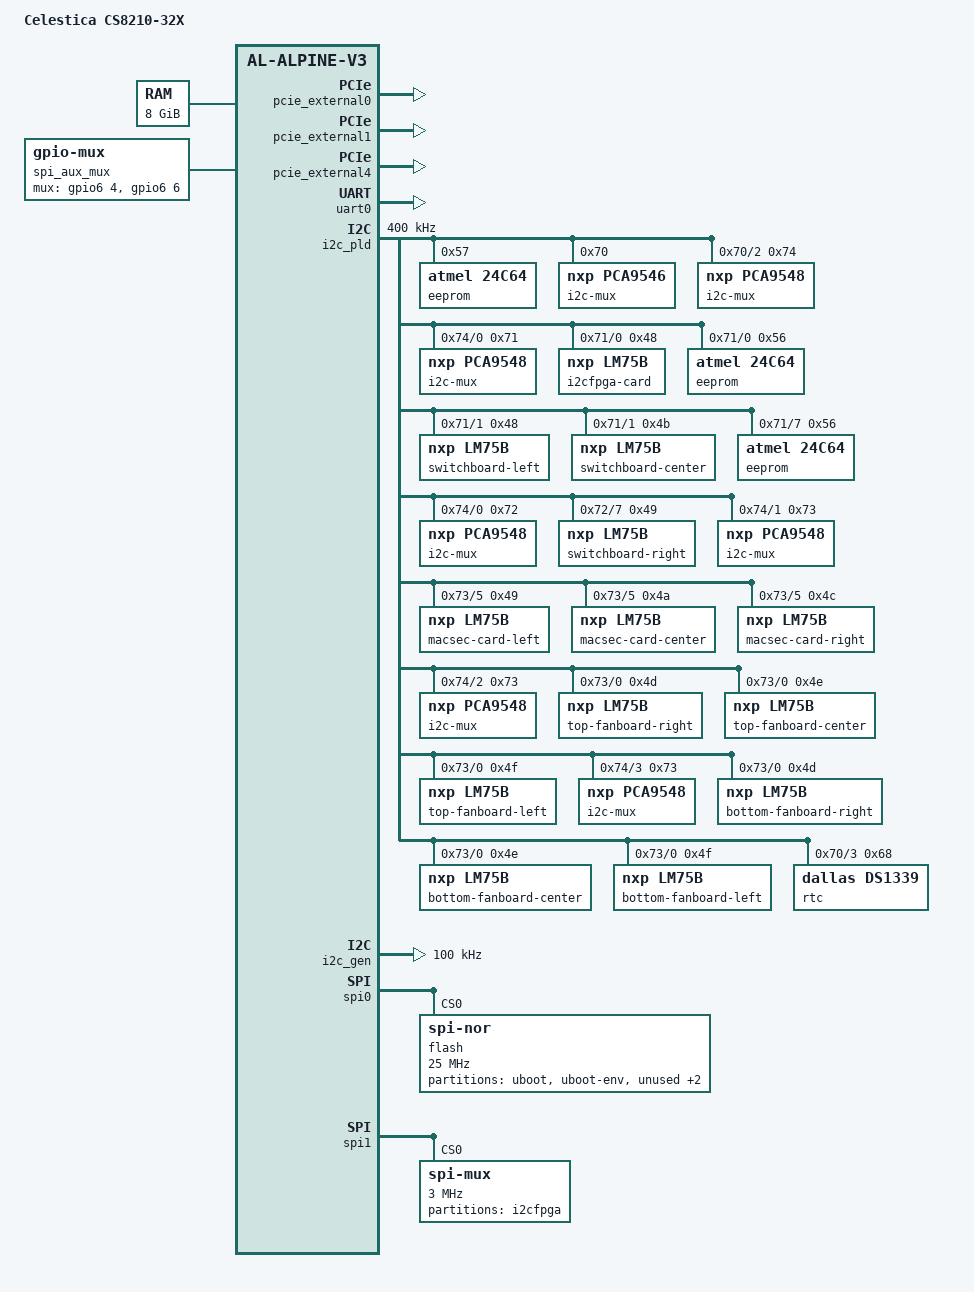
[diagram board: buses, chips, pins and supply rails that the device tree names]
// SPDX-License-Identifier: GPL-2.0
/*
 * Celestica CS8210-32X ("Briggs"), Annapurna Labs Alpine v3 K2X-N CPU card.
 *
 * Mainline alpine-v3.dtsi plus what the board needs, rebuilt from the live
 * device tree U-Boot 2018.05-alpine_db-v3.65.1.015 hands to the stock ONIE
 * kernel (captured 2026-11-09). Vendor-only bindings (al_eth board-cfg,
 * SerDes complexes, IOFIC, CCU, EDAC) are deliberately not carried over.
 */

/dts-v1/;

#include "alpine-v3.dtsi"

/ {
	model = "Celestica CS8210-32X";
	compatible = "celestica,cs8210", "amazon,al-alpine-v3";

	aliases {
		serial0 = &uart0;
		serial1 = &uart1;
	};

	chosen {
		stdout-path = "serial0:115200n8";
	};

	/*
	 * 8 GiB (2 x 4 GiB DIMM). Same four banks stock U-Boot writes into the
	 * vendor tree; it rewrites this node again on boot.
	 */
	memory@0 {
		device_type = "memory";
		reg = <0x0 0x00000000 0x0 0x80000000>,
		      <0x0 0x80000000 0x0 0x40000000>,
		      <0x1 0x00000000 0x1 0x00000000>,
		      <0x2 0x00000000 0x0 0x40000000>;
	};

	/* South-bridge clock: UART, I2C and SPI input. 500 MHz in the live tree. */
	sbclk: sbclk {
		compatible = "fixed-clock";
		#clock-cells = <0>;
		clock-frequency = <500000000>;
	};

	/*
	 * Board mux on the auxiliary SPI bus. State bit 0 drives PBS52, bit 1
	 * PBS54: state 1 = flash, state 2 = TPM. States 0 and 3 are unused. No
	 * idle-state on purpose: tpm_tis_spi keeps CS asserted across messages,
	 * so the mux must stay where the last transfer left it.
	 */
	spi_aux_mux: mux-controller {
		compatible = "gpio-mux";
		#mux-control-cells = <0>;
		mux-gpios = <&gpio6 4 0>, <&gpio6 6 0>;
	};

	/*
	 * External PCIe ports. The vendor "alpine-external-pcie" nodes become
	 * mainline pcie-al nodes: config = ECAM, controller = AL glue,
	 * dbi = controller + 0x10000 (the vendor cfg-space-offset).
	 *
	 *   port 0: Innovium switch ASIC 1d98:1b58       (Gen3 x4)
	 *   port 1: FPGA 1d0f:8571, I2C accelerator      (Gen2 x1)
	 *   port 4: FPGA 1d0f:ec30, MDIO to the MACsec PHYs (Gen1 x1)
	 */
	pcie_external0: pcie@fb600000 {
		compatible = "amazon,al-alpine-v3-pcie";
		device_type = "pci";
		#address-cells = <3>;
		#size-cells = <2>;
		#interrupt-cells = <1>;
		reg = <0x0 0xfb600000 0x0 0x00100000>,
		      <0x0 0xfd800000 0x0 0x00010000>,
		      <0x0 0xfd810000 0x0 0x00001000>;
		reg-names = "config", "controller", "dbi";
		bus-range = <0x00 0xff>;
		linux,pci-domain = <1>;
		interrupts = <GIC_SPI 49 IRQ_TYPE_LEVEL_HIGH>;
		interrupt-map-mask = <0x00 0 0 7>;
		interrupt-map = <0x0000 0 0 1 &gic GIC_SPI 41 IRQ_TYPE_LEVEL_HIGH>,
				<0x0000 0 0 2 &gic GIC_SPI 41 IRQ_TYPE_LEVEL_HIGH>,
				<0x0000 0 0 3 &gic GIC_SPI 41 IRQ_TYPE_LEVEL_HIGH>,
				<0x0000 0 0 4 &gic GIC_SPI 41 IRQ_TYPE_LEVEL_HIGH>;
		ranges = <0x02000000 0x0 0xc0010000 0x0 0xc0010000 0x0 0x07ff0000>;
		msi-parent = <&msix>;
	};

	pcie_external1: pcie@fb700000 {
		compatible = "amazon,al-alpine-v3-pcie";
		device_type = "pci";
		#address-cells = <3>;
		#size-cells = <2>;
		#interrupt-cells = <1>;
		reg = <0x0 0xfb700000 0x0 0x00100000>,
		      <0x0 0xfd820000 0x0 0x00010000>,
		      <0x0 0xfd830000 0x0 0x00001000>;
		reg-names = "config", "controller", "dbi";
		bus-range = <0x00 0xff>;
		linux,pci-domain = <2>;
		interrupts = <GIC_SPI 50 IRQ_TYPE_LEVEL_HIGH>;
		interrupt-map-mask = <0x00 0 0 7>;
		interrupt-map = <0x0000 0 0 1 &gic GIC_SPI 42 IRQ_TYPE_LEVEL_HIGH>,
				<0x0000 0 0 2 &gic GIC_SPI 42 IRQ_TYPE_LEVEL_HIGH>,
				<0x0000 0 0 3 &gic GIC_SPI 42 IRQ_TYPE_LEVEL_HIGH>,
				<0x0000 0 0 4 &gic GIC_SPI 42 IRQ_TYPE_LEVEL_HIGH>;
		ranges = <0x02000000 0x0 0xc8010000 0x0 0xc8010000 0x0 0x07ff0000>;
		msi-parent = <&msix>;
	};

	pcie_external4: pcie@fba00000 {
		compatible = "amazon,al-alpine-v3-pcie";
		device_type = "pci";
		#address-cells = <3>;
		#size-cells = <2>;
		#interrupt-cells = <1>;
		reg = <0x0 0xfba00000 0x0 0x00100000>,
		      <0x0 0xfd920000 0x0 0x00010000>,
		      <0x0 0xfd930000 0x0 0x00001000>;
		reg-names = "config", "controller", "dbi";
		bus-range = <0x00 0xff>;
		linux,pci-domain = <4>;
		interrupts = <GIC_SPI 53 IRQ_TYPE_LEVEL_HIGH>;
		interrupt-map-mask = <0x00 0 0 7>;
		interrupt-map = <0x0000 0 0 1 &gic GIC_SPI 45 IRQ_TYPE_LEVEL_HIGH>,
				<0x0000 0 0 2 &gic GIC_SPI 45 IRQ_TYPE_LEVEL_HIGH>,
				<0x0000 0 0 3 &gic GIC_SPI 45 IRQ_TYPE_LEVEL_HIGH>,
				<0x0000 0 0 4 &gic GIC_SPI 45 IRQ_TYPE_LEVEL_HIGH>;
		ranges = <0x02000000 0x0 0xe0010000 0x0 0xe0010000 0x0 0x03ff0000>;
		msi-parent = <&msix>;
	};
};

/*
 * Vendor no-map regions from the live tree, next to mainline's secmon@0.
 * The channel-1 poison address really is unaligned in the vendor tree; the
 * kernel rounds the reservation out to whole pages.
 */
&{/reserved-memory} {
	ecc-poison-ch0@1e0000 {
		reg = <0x0 0x001e0000 0x0 0x1000>;
		no-map;
	};

	ecc-poison-ch1@1e1100 {
		reg = <0x0 0x001e1100 0x0 0x1000>;
		no-map;
	};

	apcea@b0000000 {
		reg = <0x0 0xb0000000 0x0 0x10000000>;
		no-map;
	};
};

/* Stock kernel ran the architected timer at 75 MHz from this property. */
&{/timer} {
	clock-frequency = <75000000>;
};

&uart0 {
	clock-frequency = <500000000>;
	status = "okay";
};

/*
 * of_irq_init() skips nodes without interrupt-controller, so the mainline
 * node never reaches alpine_msix_init(). SPI range is the live vendor one.
 */
&msix {
	interrupt-controller;
	#interrupt-cells = <1>;
	al,msi-base-spi = <160>;
	al,msi-num-spis = <800>;
};

&{/soc/io-bus@fc000000} {
	/* "i2c-pld": the board management bus. */
	i2c_pld: i2c@1880000 {
		compatible = "snps,designware-i2c";
		reg = <0x1880000 0x1000>;
		interrupts = <GIC_SPI 21 IRQ_TYPE_LEVEL_HIGH>;
		clocks = <&sbclk>;
		clock-frequency = <400000>;
		i2c-sda-hold-time-ns = <380>;
		#address-cells = <1>;
		#size-cells = <0>;

		/* CPU card EEPROM. Blank (all 0xff) on this unit. */
		eeprom@57 {
			compatible = "atmel,24c64";
			reg = <0x57>;
			read-only;
		};

		i2c-mux@70 {
			compatible = "nxp,pca9546";
			reg = <0x70>;
			#address-cells = <1>;
			#size-cells = <0>;
			i2c-mux-idle-disconnect;

			i2c@2 {
				reg = <2>;
				#address-cells = <1>;
				#size-cells = <0>;

				i2c-mux@74 {
					compatible = "nxp,pca9548";
					reg = <0x74>;
					#address-cells = <1>;
					#size-cells = <0>;
					i2c-mux-idle-disconnect;

					/* switch board */
					i2c@0 {
						reg = <0>;
						#address-cells = <1>;
						#size-cells = <0>;

						i2c-mux@71 {
							compatible = "nxp,pca9548";
							reg = <0x71>;
							#address-cells = <1>;
							#size-cells = <0>;
							i2c-mux-idle-disconnect;

							/* i2cfpga card */
							i2c@0 {
								reg = <0>;
								#address-cells = <1>;
								#size-cells = <0>;

								temperature-sensor@48 {
									compatible = "nxp,lm75b";
									reg = <0x48>;
									label = "i2cfpga-card";
								};

								/* IPMI FRU of the i2cfpga card */
								eeprom@56 {
									compatible = "atmel,24c64";
									reg = <0x56>;
									read-only;
								};
							};

							i2c@1 {
								reg = <1>;
								#address-cells = <1>;
								#size-cells = <0>;

								temperature-sensor@48 {
									compatible = "nxp,lm75b";
									reg = <0x48>;
									label = "switchboard-left";
								};

								temperature-sensor@4b {
									compatible = "nxp,lm75b";
									reg = <0x4b>;
									label = "switchboard-center";
								};
							};

							/* system CPLD at 0x60 (cs8210-tools, raw i2c-dev) */
							i2c@2 {
								reg = <2>;
								#address-cells = <1>;
								#size-cells = <0>;
							};

							/* switch LED CPLD at 0x64 */
							i2c@5 {
								reg = <5>;
								#address-cells = <1>;
								#size-cells = <0>;
							};

							/* ONIE TlvInfo system EEPROM (what U-Boot's sys_eeprom shows) */
							i2c@7 {
								reg = <7>;
								#address-cells = <1>;
								#size-cells = <0>;

								eeprom@56 {
									compatible = "atmel,24c64";
									reg = <0x56>;
									read-only;
								};
							};
						};

						i2c-mux@72 {
							compatible = "nxp,pca9548";
							reg = <0x72>;
							#address-cells = <1>;
							#size-cells = <0>;
							i2c-mux-idle-disconnect;

							i2c@7 {
								reg = <7>;
								#address-cells = <1>;
								#size-cells = <0>;

								temperature-sensor@49 {
									compatible = "nxp,lm75b";
									reg = <0x49>;
									label = "switchboard-right";
								};
							};
						};
					};

					/* MACsec card */
					i2c@1 {
						reg = <1>;
						#address-cells = <1>;
						#size-cells = <0>;

						i2c-mux@73 {
							compatible = "nxp,pca9548";
							reg = <0x73>;
							#address-cells = <1>;
							#size-cells = <0>;
							i2c-mux-idle-disconnect;

							/* MACsec LED CPLD at 0x63 */
							i2c@0 {
								reg = <0>;
								#address-cells = <1>;
								#size-cells = <0>;
							};

							i2c@5 {
								reg = <5>;
								#address-cells = <1>;
								#size-cells = <0>;

								temperature-sensor@49 {
									compatible = "nxp,lm75b";
									reg = <0x49>;
									label = "macsec-card-left";
								};

								temperature-sensor@4a {
									compatible = "nxp,lm75b";
									reg = <0x4a>;
									label = "macsec-card-center";
								};

								temperature-sensor@4c {
									compatible = "nxp,lm75b";
									reg = <0x4c>;
									label = "macsec-card-right";
								};
							};
						};
					};

					/* top fan board: fan CPLD at 0x66 (cs8210-tools), sensors behind 0x73 */
					i2c@2 {
						reg = <2>;
						#address-cells = <1>;
						#size-cells = <0>;

						i2c-mux@73 {
							compatible = "nxp,pca9548";
							reg = <0x73>;
							#address-cells = <1>;
							#size-cells = <0>;
							i2c-mux-idle-disconnect;

							i2c@0 {
								reg = <0>;
								#address-cells = <1>;
								#size-cells = <0>;

								temperature-sensor@4d {
									compatible = "nxp,lm75b";
									reg = <0x4d>;
									label = "top-fanboard-right";
								};

								temperature-sensor@4e {
									compatible = "nxp,lm75b";
									reg = <0x4e>;
									label = "top-fanboard-center";
								};

								temperature-sensor@4f {
									compatible = "nxp,lm75b";
									reg = <0x4f>;
									label = "top-fanboard-left";
								};
							};
						};
					};

					/* bottom fan board: fan CPLD at 0x66 (cs8210-tools), sensors behind 0x73 */
					i2c@3 {
						reg = <3>;
						#address-cells = <1>;
						#size-cells = <0>;

						i2c-mux@73 {
							compatible = "nxp,pca9548";
							reg = <0x73>;
							#address-cells = <1>;
							#size-cells = <0>;
							i2c-mux-idle-disconnect;

							i2c@0 {
								reg = <0>;
								#address-cells = <1>;
								#size-cells = <0>;

								temperature-sensor@4d {
									compatible = "nxp,lm75b";
									reg = <0x4d>;
									label = "bottom-fanboard-right";
								};

								temperature-sensor@4e {
									compatible = "nxp,lm75b";
									reg = <0x4e>;
									label = "bottom-fanboard-center";
								};

								temperature-sensor@4f {
									compatible = "nxp,lm75b";
									reg = <0x4f>;
									label = "bottom-fanboard-left";
								};
							};
						};
					};
				};
			};

			i2c@3 {
				reg = <3>;
				#address-cells = <1>;
				#size-cells = <0>;

				rtc@68 {
					compatible = "dallas,ds1339";
					reg = <0x68>;
					trickle-resistor-ohms = <2000>;
				};
			};
		};
	};

	/* "i2c-gen" */
	i2c_gen: i2c@1894000 {
		compatible = "snps,designware-i2c";
		reg = <0x1894000 0x1000>;
		interrupts = <GIC_SPI 8 IRQ_TYPE_LEVEL_HIGH>;
		clocks = <&sbclk>;
		clock-frequency = <100000>;
		i2c-sda-hold-time-ns = <300>;
		#address-cells = <1>;
		#size-cells = <0>;
	};

	/* Boot flash. Everything but the U-Boot environment is read-only here. */
	spi0: spi@1882000 {
		compatible = "amazon,alpine-dw-apb-ssi", "snps,dw-apb-ssi";
		reg = <0x1882000 0x1000>;
		interrupts = <GIC_SPI 23 IRQ_TYPE_LEVEL_HIGH>;
		clocks = <&sbclk>;
		num-cs = <4>;
		#address-cells = <1>;
		#size-cells = <0>;

		flash@0 {
			compatible = "jedec,spi-nor";
			reg = <0>;
			spi-max-frequency = <25000000>;

			partitions {
				compatible = "fixed-partitions";
				#address-cells = <1>;
				#size-cells = <1>;

				partition@0 {
					label = "uboot";
					reg = <0x0000000 0x380000>;
					read-only;
				};

				partition@380000 {
					label = "uboot-env";
					reg = <0x0380000 0x040000>;
				};

				partition@3c0000 {
					label = "unused";
					reg = <0x03c0000 0x040000>;
					read-only;
				};

				partition@400000 {
					label = "board_eeprom";
					reg = <0x0400000 0x010000>;
					read-only;
				};

				partition@410000 {
					label = "onie";
					reg = <0x0410000 0x1bf0000>;
					read-only;
				};
			};
		};
	};

	/* PBS GPIO 48..55. Bits 4 and 6 (PBS52 / PBS54) steer the aux SPI bus. */
	gpio6: gpio@1898000 {
		compatible = "arm,pl061", "arm,primecell";
		reg = <0x1898000 0x1000>;
		interrupts = <GIC_SPI 24 IRQ_TYPE_LEVEL_HIGH>;
		clocks = <&sbclk>;
		clock-names = "apb_pclk";
		gpio-controller;
		#gpio-cells = <2>;
	};

	/*
	 * Auxiliary SPI: TPM 2.0 + the I2C-FPGA configuration flash.
	 *
	 * Both devices hang off the controller's SS0 behind a board mux that
	 * two SoC GPIOs steer: PBS52=1/PBS54=0 selects the flash, PBS52=0/
	 * PBS54=1 the TPM. The vendor 4.9 kernel hides this inside
	 * dw_spi_set_cs() (it strcmp()s the SPI modalias, sets the two GPIOs
	 * and forces chip select 0), which is why the vendor tree's "tpm@0,
	 * spiflash@1" under a plain controller cannot work on mainline. U-Boot
	 * leaves the mux on the flash at every OS handoff. Here it is described
	 * as what it is: a gpio-mux behind spi-mux. Found by disassembling the
	 * vendor kernel; see ai_re .../reviews/2026-11-09-tpm-aux-spi.md.
	 *
	 * The vendor tree gives this controller no usable interrupt (it polls);
	 * mainline needs kernel/patches/spi-dw-mmio-allow-irqless.patch for that.
	 */
	spi1: spi@18be100 {
		compatible = "amazon,alpine-dw-apb-ssi", "snps,dw-apb-ssi";
		reg = <0x18be100 0x1000>;
		clocks = <&sbclk>;
		num-cs = <4>;
		#address-cells = <1>;
		#size-cells = <0>;

		spi-mux@0 {
			compatible = "spi-mux";
			reg = <0>;
			#address-cells = <1>;
			#size-cells = <0>;
			spi-max-frequency = <3000000>;
			mux-controls = <&spi_aux_mux>;

			/*
			 * mux state 1: PBS52=1 PBS54=0. Disabled for now: in this
			 * state the n25q256a does not answer a JEDEC ID read on
			 * mainline (all ones, also when driven by hand), although
			 * the vendor kernel reads it. Something else gates the
			 * flash; not found yet.
			 */
			flash@1 {
				compatible = "jedec,spi-nor";
				reg = <1>;
				spi-max-frequency = <3000000>;
				status = "disabled";

				partitions {
					compatible = "fixed-partitions";
					#address-cells = <1>;
					#size-cells = <1>;

					partition@0 {
						label = "i2cfpga";
						reg = <0x0 0x2000000>;
						read-only;
					};
				};
			};

			/* mux state 2: PBS52=0 PBS54=1 */
			tpm@2 {
				compatible = "infineon,slb9670", "tcg,tpm_tis-spi";
				reg = <2>;
				spi-max-frequency = <700000>;
			};
		};
	};
};
